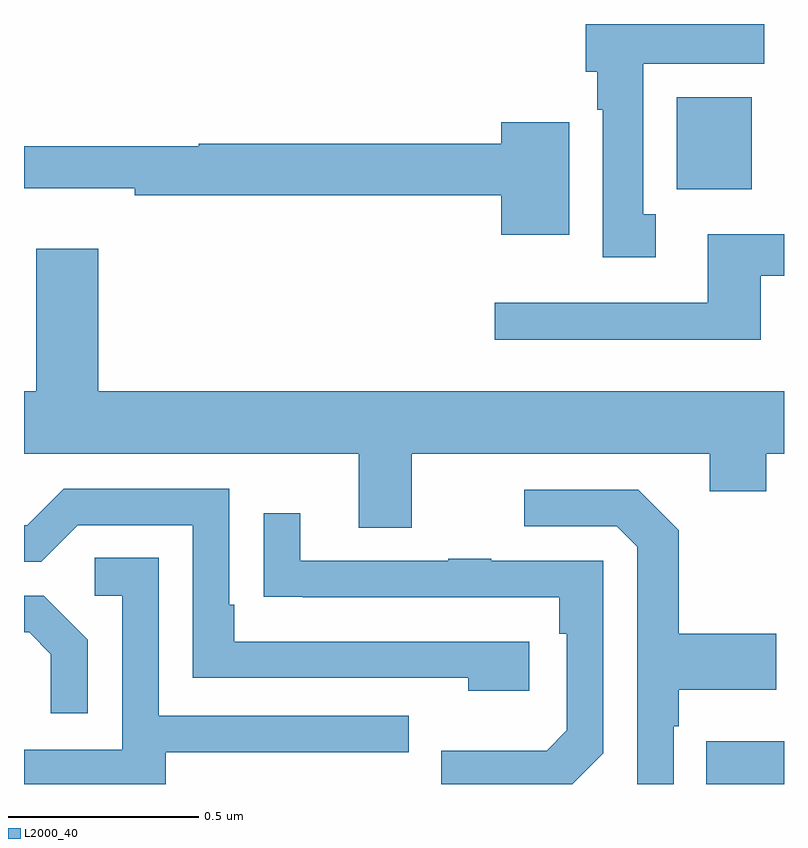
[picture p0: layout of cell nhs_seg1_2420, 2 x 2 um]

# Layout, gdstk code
import gdstk
lib = gdstk.Library(unit=1e-6, precision=1e-09)
def R(c, l, rs):  # rectangles x0, y0, x1, y1
    for r in rs: c.add(gdstk.rectangle(r[:2], r[2:], *l))
def P(c, l, *ps):  # polygons
    for p in ps: c.add(gdstk.Polygon(p, *l))
L2000_40 = (2000, 40)

nhs_seg1_2420 = lib.new_cell('nhs_seg1_2420')
R(nhs_seg1_2420, L2000_40, [(142.795,548.199,143,548.311), (142.718,549.764,142.915,550.006)])
P(nhs_seg1_2420, L2000_40, [(142.663,549.698),(142.63,549.698),(142.63,550.094),(142.948,550.094),(142.948,550.199),(142.478,550.199),(142.478,550.074),(142.508,550.074),(142.508,549.974),(142.523,549.974),(142.523,549.585),(142.663,549.585)],
  [(142.435,549.94),(142.256,549.94),(142.256,549.884),(141.46,549.884),(141.46,549.877),(141,549.877),(141,549.767),(141.292,549.767),(141.292,549.748),(142.256,549.748),(142.256,549.644),(142.435,549.644)],
  [(142.939,549.537),(143,549.537),(143,549.646),(142.799,549.646),(142.799,549.465),(142.239,549.465),(142.239,549.368),(142.939,549.368)],
  [(142.021,549.068),(142.805,549.068),(142.805,548.969),(142.953,548.969),(142.953,549.068),(143,549.068),(143,549.232),(141.196,549.232),(141.196,549.607),(141.032,549.607),(141.032,549.232),(141,549.232),(141,549.068),(141.881,549.068),(141.881,548.874),(142.021,548.874)],
  [(142.33,548.574),(141.553,548.574),(141.553,548.671),(141.54,548.671),(141.54,548.976),(141.105,548.976),(141.009,548.88),(141,548.88),(141,548.784),(141.045,548.784),(141.141,548.88),(141.444,548.88),(141.444,548.478),(142.169,548.478),(142.169,548.444),(142.33,548.444)],
  [(142.71,548.351),(142.723,548.351),(142.723,548.447),(142.979,548.447),(142.979,548.595),(142.723,548.595),(142.723,548.867),(142.617,548.973),(142.317,548.973),(142.317,548.877),(142.56,548.877),(142.614,548.823),(142.614,548.199),(142.71,548.199)],
  [(142.524,548.28),(142.524,548.787),(142.229,548.787),(142.229,548.792),(142.117,548.792),(142.117,548.787),(141.727,548.787),(141.727,548.911),(141.631,548.911),(141.631,548.692),(141.733,548.692),(141.733,548.691),(142.408,548.691),(142.408,548.594),(142.428,548.594),(142.428,548.34),(142.375,548.287),(142.098,548.287),(142.098,548.199),(142.443,548.199)],
  [(141.373,548.283),(142.013,548.283),(142.013,548.379),(141.354,548.379),(141.354,548.795),(141.186,548.795),(141.186,548.694),(141.258,548.694),(141.258,548.289),(141,548.289),(141,548.199),(141.373,548.199)],
  [(141.168,548.578),(141.052,548.694),(141,548.694),(141,548.598),(141.014,548.598),(141.071,548.541),(141.071,548.385),(141.168,548.385)])

lib.write_gds('nhs_seg1_2420.gds')
